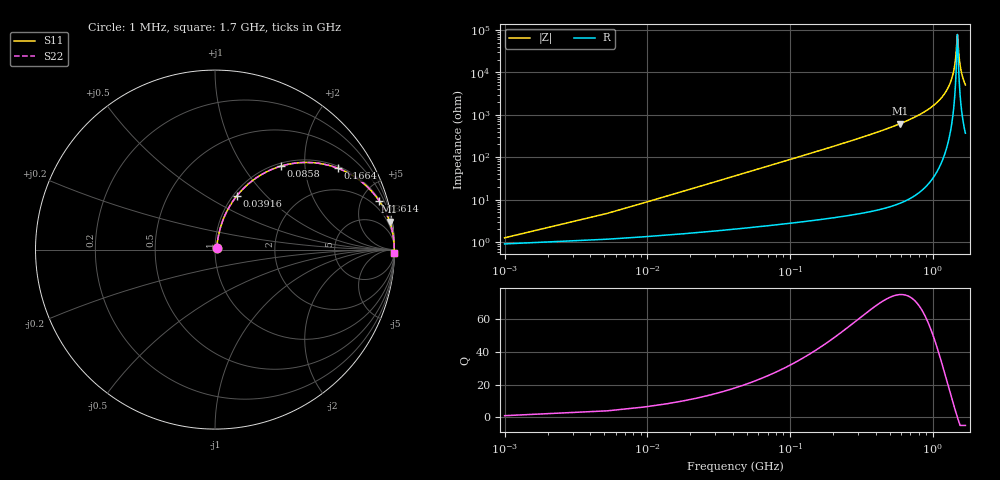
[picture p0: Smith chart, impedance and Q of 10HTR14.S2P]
! Coilcraft 1008HT-R14 Chip Inductor
! 16 July 2002
# MHZ S MA R 50
!Freq  MagS11  AngS11  MagS21  AngS21  MagS12  AngS12  MagS22  AngS22
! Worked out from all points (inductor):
!   402 points, 1 MHz to 1.7 GHz, reference 50 ohm
!   read as one part in series: L = 140 nH near 9.48 MHz
!   highest Q = 75 at 594.6 MHz (marker M1), where L = 166 nH
!   self-resonance near 1.493 GHz
!   S11 on the Smith chart (normalised r, x): 1 MHz: 1.02, +0.02; 39.16 MHz: 1.04, +0.69; 85.8 MHz: 1.05, +1.51; 166.4 MHz: 1.07, +2.96; 361.4 MHz: 1.10, +6.75; 1.7 GHz: open
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1  0.01251 43.7  0.991 -0.5  0.991 -0.5  0.01251 43.7
13.72  0.119 76.3  0.9787 -6.8  0.9787 -6.8  0.119 76.3
17.96  0.1545 75.5  0.9728 -8.8  0.9728 -8.8  0.1545 75.5
26.44  0.2235 72.8  0.958 -12.9  0.958 -12.9  0.2235 72.8
39.16  0.3207 68.0  0.9289 -18.7  0.9289 -18.7  0.3207 68.0
85.8  0.5941 51.6  0.7841 -36.4  0.7841 -36.4  0.5941 51.6
166.36  0.8202 33.6  0.5534 -55.1  0.5534 -55.1  0.8202 33.6
285.08  0.9282 20.9  0.3566 -68.1  0.3566 -68.1  0.9282 20.9
361.4  0.9549 16.4  0.2828 -72.7  0.2828 -72.7  0.9549 16.4
569.16  0.9836 9.7  0.168 -79.6  0.168 -79.6  0.9836 9.7
594.6  0.9852 9.1  0.1585 -80.1  0.1585 -80.1  0.9852 9.1
853.24  0.9946 5.1  0.08933 -84.0  0.08933 -84.0  0.9946 5.1
1137.32  0.9979 2.4  0.042 -86.0  0.042 -86.0  0.9979 2.4
1311.16  0.9986 1.1  0.01998 -85.5  0.01998 -85.5  0.9986 1.1
1417.16  0.9987 0.5  0.00818 -80.9  0.00818 -80.9  0.9987 0.5
1455.32  0.9987 0.2  0.004235 -72.7  0.004235 -72.7  0.9987 0.2
1493.48  0.9987 0.0  0.001274 -5.2  0.001274 -5.2  0.9987 0.0
1501.96  0.9987 -0.0  0.001475 30.3  0.001475 30.3  0.9987 -0.0
1535.88  0.9987 -0.2  0.004335 72.4  0.004335 72.4  0.9987 -0.2
1569.8  0.9987 -0.4  0.007573 79.5  0.007573 79.5  0.9987 -0.4
1624.92  0.9986 -0.7  0.01278 83.2  0.01278 83.2  0.9986 -0.7
1700  0.9984 -1.1  0.01966 84.7  0.01966 84.7  0.9984 -1.1
